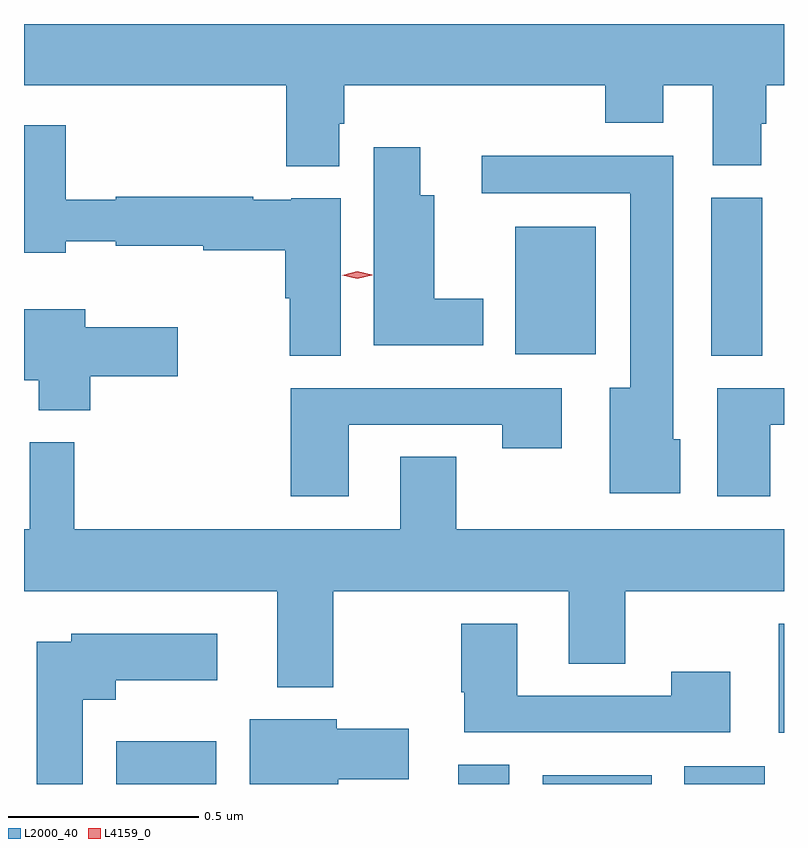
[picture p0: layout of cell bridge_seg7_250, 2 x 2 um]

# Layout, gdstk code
import gdstk
lib = gdstk.Library(unit=1e-6, precision=1e-09)
def R(c, l, rs):  # rectangles x0, y0, x1, y1
    for r in rs: c.add(gdstk.rectangle(r[:2], r[2:], *l))
def P(c, l, *ps):  # polygons
    for p in ps: c.add(gdstk.Polygon(p, *l))
L2000_40 = (2000, 40)
L4159_0 = (4159, 0)

bridge_seg7_250 = lib.new_cell('bridge_seg7_250')
R(bridge_seg7_250, L2000_40, [(227.51,1053.389,227.773,1053.502), (228.41,1053.389,228.544,1053.44), (228.632,1053.389,228.919,1053.412), (229.004,1053.389,229.216,1053.436), (229.253,1053.524,229.267,1053.811), (229.076,1054.516,229.21,1054.932), (228.56,1054.52,228.772,1054.855)])
P(bridge_seg7_250, L2000_40, [(228.097,1055.127),(228.11,1055.127),(228.11,1055.228),(228.797,1055.228),(228.797,1055.129),(228.949,1055.129),(228.949,1055.228),(229.079,1055.228),(229.079,1055.017),(229.207,1055.017),(229.207,1055.127),(229.22,1055.127),(229.22,1055.228),(229.267,1055.228),(229.267,1055.389),(227.267,1055.389),(227.267,1055.228),(227.957,1055.228),(227.957,1055.015),(228.097,1055.015)],
  [(228.1,1054.93),(227.97,1054.93),(227.97,1054.927),(227.87,1054.927),(227.87,1054.935),(227.508,1054.935),(227.508,1054.927),(227.377,1054.927),(227.377,1055.122),(227.268,1055.122),(227.268,1055.056),(227.267,1055.056),(227.267,1054.787),(227.377,1054.787),(227.377,1054.817),(227.508,1054.817),(227.508,1054.805),(227.739,1054.805),(227.739,1054.793),(227.954,1054.793),(227.954,1054.667),(227.966,1054.667),(227.966,1054.516),(228.1,1054.516)],
  [(228.475,1054.666),(228.346,1054.666),(228.346,1054.939),(228.31,1054.939),(228.31,1055.065),(228.188,1055.065),(228.188,1054.544),(228.475,1054.544)],
  [(228.994,1054.296),(228.976,1054.296),(228.976,1055.042),(228.471,1055.042),(228.471,1054.944),(228.863,1054.944),(228.863,1054.432),(228.809,1054.432),(228.809,1054.154),(228.994,1054.154)],
  [(227.441,1054.462),(227.671,1054.462),(227.671,1054.591),(227.428,1054.591),(227.428,1054.639),(227.267,1054.639),(227.267,1054.451),(227.306,1054.451),(227.306,1054.373),(227.441,1054.373)],
  [(229.231,1054.335),(229.267,1054.335),(229.267,1054.431),(229.091,1054.431),(229.091,1054.146),(229.231,1054.146)],
  [(228.121,1054.335),(228.526,1054.335),(228.526,1054.272),(228.682,1054.272),(228.682,1054.431),(227.969,1054.431),(227.969,1054.146),(228.121,1054.146)],
  [(228.081,1053.896),(228.701,1053.896),(228.701,1053.706),(228.849,1053.706),(228.849,1053.896),(229.267,1053.896),(229.267,1054.06),(228.405,1054.06),(228.405,1054.25),(228.257,1054.25),(228.257,1054.06),(227.399,1054.06),(227.399,1054.288),(227.282,1054.288),(227.282,1054.06),(227.267,1054.06),(227.267,1053.896),(227.933,1053.896),(227.933,1053.644),(228.081,1053.644)],
  [(229.126,1053.685),(228.97,1053.685),(228.97,1053.621),(228.565,1053.621),(228.565,1053.811),(228.418,1053.811),(228.418,1053.631),(228.425,1053.631),(228.425,1053.525),(229.126,1053.525)],
  [(227.422,1053.611),(227.509,1053.611),(227.509,1053.662),(227.776,1053.662),(227.776,1053.784),(227.391,1053.784),(227.391,1053.763),(227.3,1053.763),(227.3,1053.389),(227.422,1053.389)],
  [(228.094,1053.401),(228.28,1053.401),(228.28,1053.535),(228.09,1053.535),(228.09,1053.559),(227.861,1053.559),(227.861,1053.389),(228.094,1053.389)])
P(bridge_seg7_250, L4159_0, [(228.144,1054.718),(228.105,1054.728),(228.104,1054.728),(228.105,1054.728),(228.144,1054.738),(228.184,1054.729),(228.184,1054.729),(228.184,1054.728)])

lib.write_gds('bridge_seg7_250.gds')
